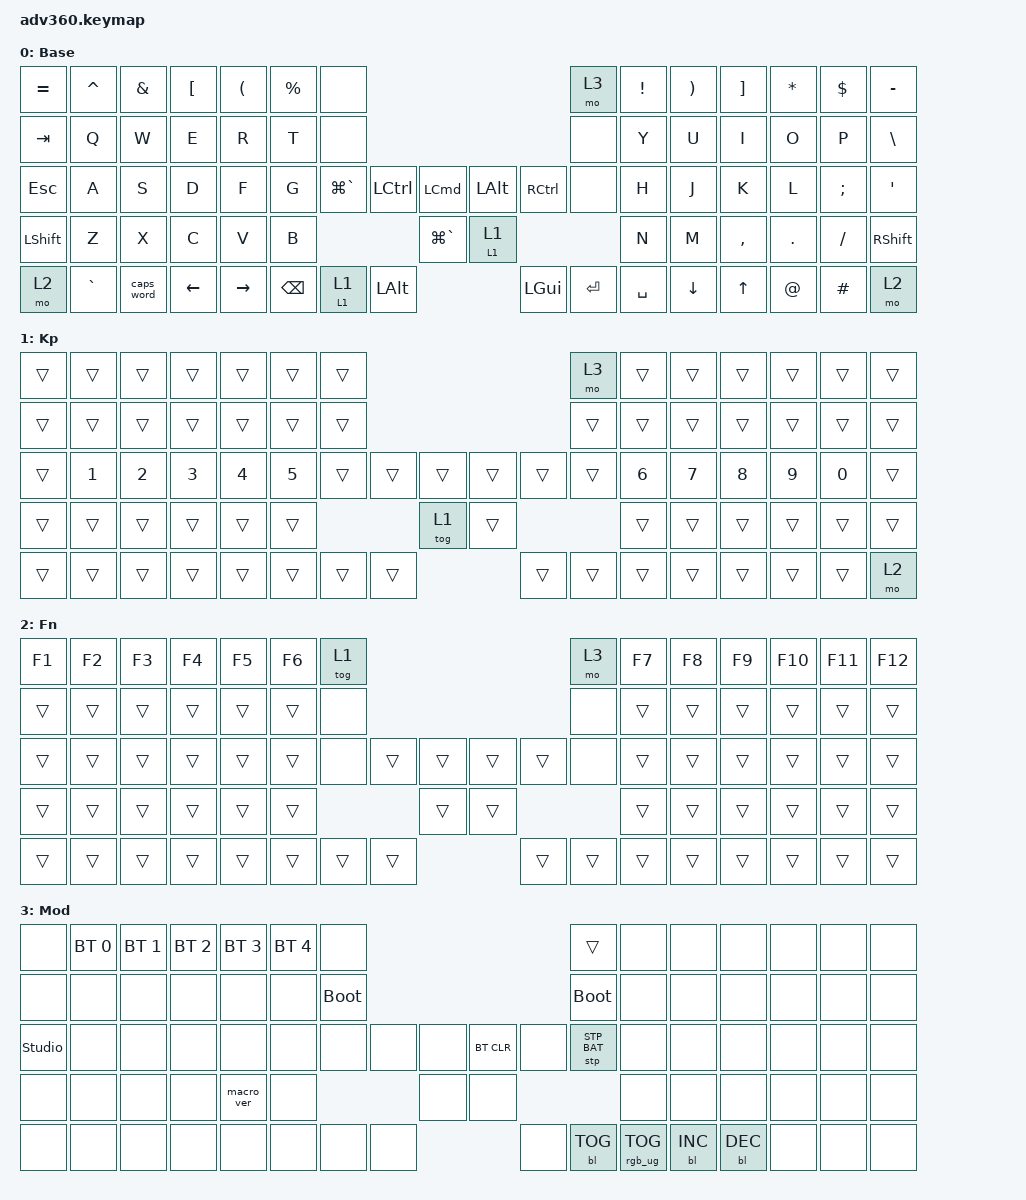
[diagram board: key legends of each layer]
#include <behaviors.dtsi>
#include <dt-bindings/zmk/keys.h>
#include <dt-bindings/zmk/bt.h>
#include <dt-bindings/zmk/rgb.h>
#include <dt-bindings/zmk/stp.h>
#include <dt-bindings/zmk/backlight.h>
#include <dt-bindings/zmk/pointing.h>

/ {
    behaviors {
      #include "macros.dtsi"
      #include "version.dtsi"

      hm: homerow_mods {
          compatible = "zmk,behavior-hold-tap";
          label = "HOMEROW_MODS";
          #binding-cells = <2>;
          tapping-term-ms = <200>;
          quick_tap_ms = <175>;
          flavor = "tap-preferred";
          bindings = <&kp>, <&kp>;
      };

      nt: number_tap {
        compatible = "zmk,behavior-hold-tap";
        label = "NUBER_TAP";
        #binding-cells = <2>;
        flavor = "tap-preferred";
        tapping-term-ms = <125>;
        quick_tap_ms = <75>;
        bindings = <&mo>, <&tog>;
      };

      sm: shift_morph {
          // TODO: see mod-morph docs to try swap symbol row with numbers
          compatible = "zmk,behavior-mod-morph";
          #binding-cells = <2>;
          bindings = <&kp>, <&kp>;
          mods = <(MOD_LSFT|MOD_RSFT)>;
      };
    };

  keymap {
    compatible = "zmk,keymap";

    default_layer {
      display-name = "Base";
      bindings = <
        &kp EQUAL   &kp CARET   &kp AMPS    &kp LBKT    &kp LPAR    &kp PRCNT   &none                                                     &mo 3   &kp EXCL    &kp RPAR    &kp RBKT    &kp ASTRK   &kp DLLR    &kp MINUS
        &kp TAB     &kp Q       &kp W       &kp E       &kp R       &kp T       &none                                                     &none   &kp Y       &kp U       &kp I       &kp O       &kp P       &kp BSLH
        &kp ESC     &kp A       &kp S       &kp D       &kp F       &kp G       &kp LG(GRAVE)  &kp LCTRL &kp LCMD      &kp LALT &kp RCTRL &none   &kp H       &kp J       &kp K       &kp L       &kp SEMI    &kp SQT
        &kp LSHFT   &kp Z       &kp X       &kp C       &kp V       &kp B                                &kp LG(GRAVE) &nt 1 1                    &kp N       &kp M       &kp COMMA   &kp DOT     &kp FSLH    &kp RSHIFT
        &mo 2       &kp GRAVE   &caps_word  &kp LEFT    &kp RIGHT                  &kp BSPC    &nt 1 1   &kp LALT      &kp LGUI &kp ENTER &kp SPACE           &kp DOWN    &kp UP      &kp AT      &kp HASH    &mo 2
      >;
    };
    keypad {
      display-name = "Kp";
      bindings = <
        &trans  &trans  &trans  &trans  &trans  &trans  &trans                                          &mo 3   &trans  &trans  &trans  &trans  &trans  &trans 
        &trans  &trans  &trans  &trans  &trans  &trans  &trans                                          &trans  &trans  &trans  &trans  &trans  &trans  &trans
        &trans  &kp N1  &kp N2  &kp N3  &kp N4  &kp N5  &trans       &trans &trans &trans &trans        &trans  &kp N6  &kp N7  &kp N8  &kp N9  &kp N0  &trans
        &trans  &trans  &trans  &trans  &trans  &trans                      &tog 1 &trans                       &trans  &trans  &trans  &trans  &trans  &trans
        &trans  &trans  &trans  &trans  &trans                &trans &trans &trans &trans &trans &trans                 &trans  &trans  &trans  &trans  &mo 2
      >;
    };
    fn {
      display-name = "Fn";
      bindings = <
        &kp F1  &kp F2  &kp F3  &kp F4  &kp F5  &kp F6  &tog 1                                          &mo 3   &kp F7  &kp F8  &kp F9  &kp F10 &kp F11 &kp F12
        &trans  &trans  &trans  &trans  &trans  &trans  &none                                           &none   &trans  &trans  &trans  &trans  &trans  &trans
        &trans  &trans  &trans  &trans  &trans  &trans  &none        &trans &trans &trans &trans        &none   &trans  &trans  &trans  &trans  &trans  &trans
        &trans  &trans  &trans  &trans  &trans  &trans                      &trans &trans                       &trans  &trans  &trans  &trans  &trans  &trans
        &trans  &trans  &trans  &trans  &trans               &trans &trans &trans &trans &trans &trans                  &trans  &trans  &trans  &trans  &trans
      >;
    };
    mod {
      display-name = "Mod";
      bindings = <
        &none           &bt BT_SEL 0 &bt BT_SEL 1 &bt BT_SEL 2 &bt BT_SEL 3 &bt BT_SEL 4 &none                                             &trans          &none  &none       &none       &none &none &none
        &none           &none        &none        &none        &none        &none        &bootloader                                       &bootloader     &none  &none       &none       &none &none &none
        &studio_unlock  &none        &none        &none        &none        &none        &none           &none &none &bt BT_CLR &none      &stp STP_BAT    &none  &none       &none       &none &none &none
        &none           &none        &none        &none        &macro_ver   &none                              &none &none                                 &none  &none       &none       &none &none &none
        &none           &none        &none        &none        &none                               &none &none &none &none      &bl BL_TOG &rgb_ug RGB_TOG        &bl BL_INC  &bl BL_DEC  &none &none &none
      >;
    };
    extra1 { 
      display-name = "Red";    
      status = "reserved";
    };

    extra2 { 
      display-name = "Purple";    
      status = "reserved";
    };

    extra3 { 
      display-name = "Cyan";    
      status = "reserved";
    };

    extra4 { 
      display-name = "Yellow";    
      status = "reserved";
    };
  };
};
